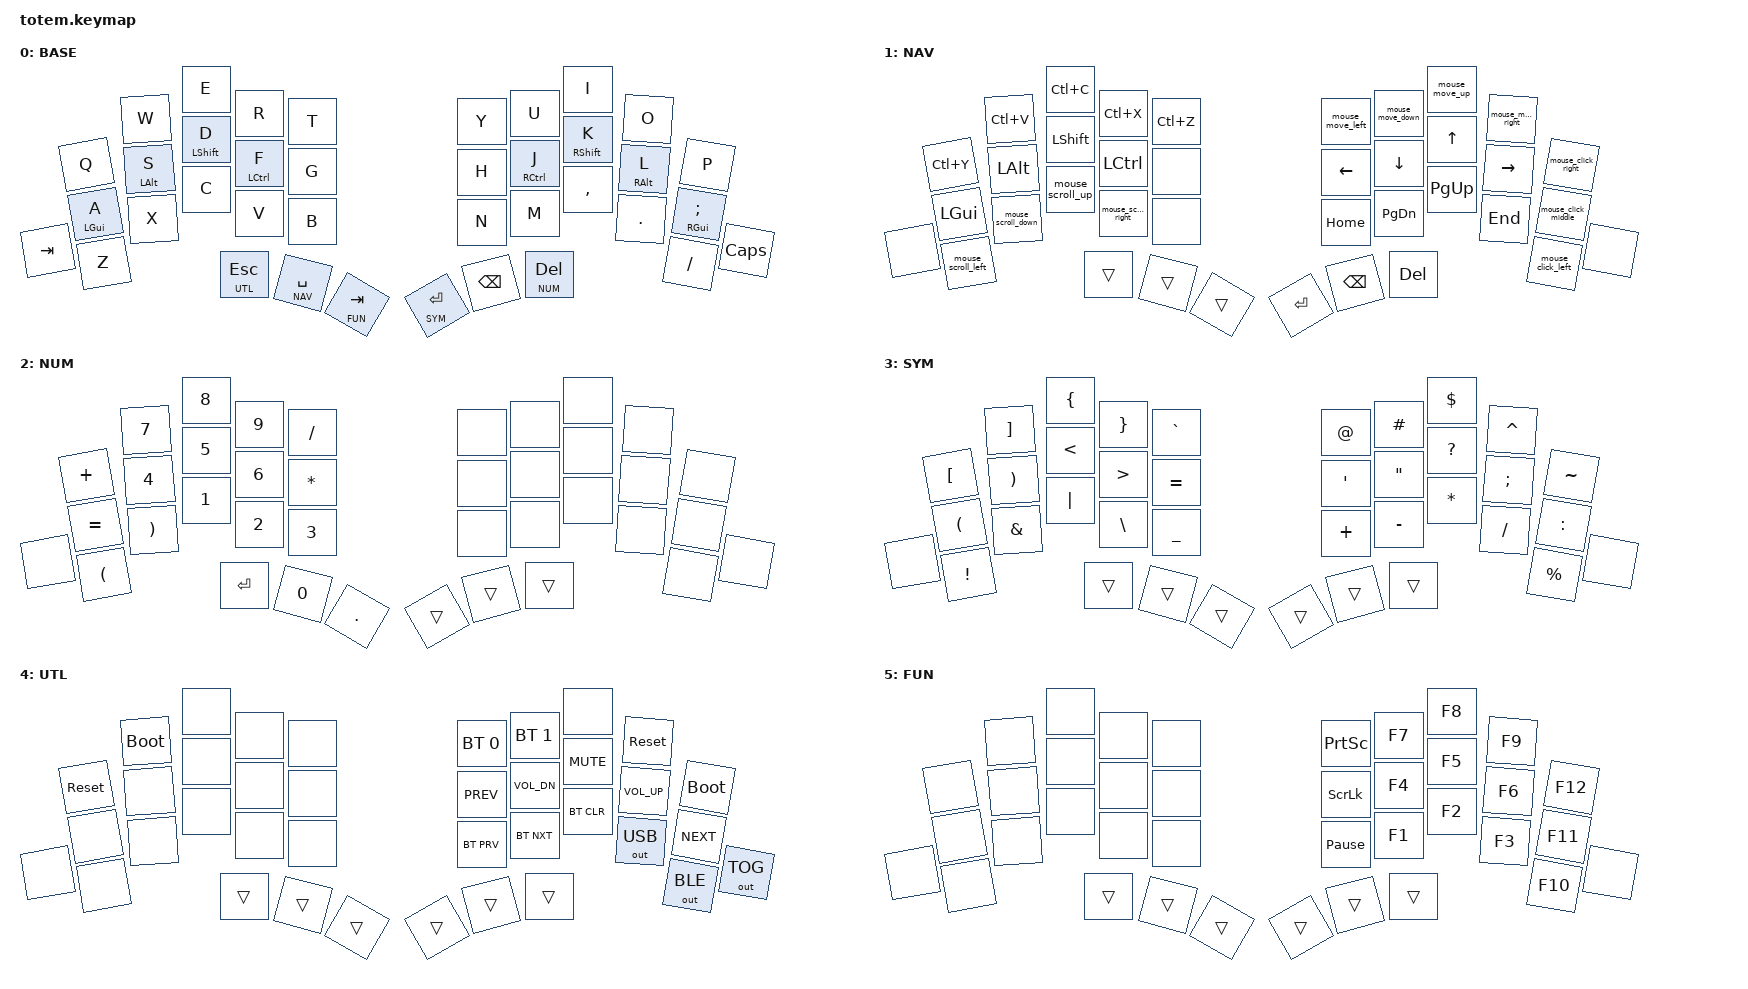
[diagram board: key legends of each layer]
//
// TOTEM keymap — ergonomic test layout
//
// Thumb taps / holds:
//   Left:  UTL/Esc   NAV/Space   FUN/Tab
//   Right: SYM/Enter Backspace   NUM/Delete
//
// Layers:
//   BASE 0, NAV 1, NUM 2, SYM 3, UTL 4, FUN 5
//

#include <behaviors.dtsi>
#include <dt-bindings/zmk/keys.h>
#include <dt-bindings/zmk/bt.h>
#include <dt-bindings/zmk/outputs.h>
#include <dt-bindings/zmk/pointing.h>

#define BASE 0
#define NAV  1
#define NUM  2
#define SYM  3
#define UTL  4
#define FUN  5

&mt {
    quick-tap-ms = <100>;
    global-quick-tap;
    flavor = "tap-preferred";
    tapping-term-ms = <250>;
    require-prior-idle-ms = <125>;
};

/ {
    behaviors {
        hml: home_row_mod_left {
            compatible = "zmk,behavior-hold-tap";
            #binding-cells = <2>;

            flavor = "balanced";
            tapping-term-ms = <280>;
            quick-tap-ms = <175>;
            require-prior-idle-ms = <150>;
            bindings = <&kp>, <&kp>;

            // Opposite-hand trigger positions: RIGHT half only.
            hold-trigger-key-positions = <
                5 6 7 8 9
                15 16 17 18 19
                26 27 28 29 30 31
                35 36 37
            >;

            hold-trigger-on-release;
            display-name = "Home Row Mod Left";
        };

        hmr: home_row_mod_right {
            compatible = "zmk,behavior-hold-tap";
            #binding-cells = <2>;

            flavor = "balanced";
            tapping-term-ms = <280>;
            quick-tap-ms = <175>;
            require-prior-idle-ms = <150>;
            bindings = <&kp>, <&kp>;

            // Opposite-hand trigger positions: LEFT half only.
            hold-trigger-key-positions = <
                0 1 2 3 4
                10 11 12 13 14
                20 21 22 23 24 25
                32 33 34
            >;

            hold-trigger-on-release;
            display-name = "Home Row Mod Right";
        };
    };

    combos {
        compatible = "zmk,combos";

        combo_esc {
            timeout-ms = <50>;
            key-positions = <0 1>;
            bindings = <&kp ESC>;
        };
    };

    macros {
        // Zero-parameter mouse behaviors remain Studio-friendly.
        mouse_move_left: mouse_move_left {
            display-name = "Mouse Move Left";
            compatible = "zmk,behavior-macro";
            #binding-cells = <0>;
            wait-ms = <0>;
            tap-ms = <0>;
            bindings
                = <&macro_press &mmv MOVE_LEFT>
                , <&macro_pause_for_release>
                , <&macro_release &mmv MOVE_LEFT>
                ;
        };

        mouse_move_right: mouse_move_right {
            display-name = "Mouse Move Right";
            compatible = "zmk,behavior-macro";
            #binding-cells = <0>;
            wait-ms = <0>;
            tap-ms = <0>;
            bindings
                = <&macro_press &mmv MOVE_RIGHT>
                , <&macro_pause_for_release>
                , <&macro_release &mmv MOVE_RIGHT>
                ;
        };

        mouse_move_up: mouse_move_up {
            display-name = "Mouse Move Up";
            compatible = "zmk,behavior-macro";
            #binding-cells = <0>;
            wait-ms = <0>;
            tap-ms = <0>;
            bindings
                = <&macro_press &mmv MOVE_UP>
                , <&macro_pause_for_release>
                , <&macro_release &mmv MOVE_UP>
                ;
        };

        mouse_move_down: mouse_move_down {
            display-name = "Mouse Move Down";
            compatible = "zmk,behavior-macro";
            #binding-cells = <0>;
            wait-ms = <0>;
            tap-ms = <0>;
            bindings
                = <&macro_press &mmv MOVE_DOWN>
                , <&macro_pause_for_release>
                , <&macro_release &mmv MOVE_DOWN>
                ;
        };

        mouse_scroll_up: mouse_scroll_up {
            display-name = "Mouse Scroll Up";
            compatible = "zmk,behavior-macro";
            #binding-cells = <0>;
            wait-ms = <0>;
            tap-ms = <0>;
            bindings
                = <&macro_press &msc SCRL_UP>
                , <&macro_pause_for_release>
                , <&macro_release &msc SCRL_UP>
                ;
        };

        mouse_scroll_down: mouse_scroll_down {
            display-name = "Mouse Scroll Down";
            compatible = "zmk,behavior-macro";
            #binding-cells = <0>;
            wait-ms = <0>;
            tap-ms = <0>;
            bindings
                = <&macro_press &msc SCRL_DOWN>
                , <&macro_pause_for_release>
                , <&macro_release &msc SCRL_DOWN>
                ;
        };

        mouse_scroll_left: mouse_scroll_left {
            display-name = "Mouse Scroll Left";
            compatible = "zmk,behavior-macro";
            #binding-cells = <0>;
            wait-ms = <0>;
            tap-ms = <0>;
            bindings
                = <&macro_press &msc SCRL_LEFT>
                , <&macro_pause_for_release>
                , <&macro_release &msc SCRL_LEFT>
                ;
        };

        mouse_scroll_right: mouse_scroll_right {
            display-name = "Mouse Scroll Right";
            compatible = "zmk,behavior-macro";
            #binding-cells = <0>;
            wait-ms = <0>;
            tap-ms = <0>;
            bindings
                = <&macro_press &msc SCRL_RIGHT>
                , <&macro_pause_for_release>
                , <&macro_release &msc SCRL_RIGHT>
                ;
        };

        mouse_click_left: mouse_click_left {
            display-name = "Mouse Left Click";
            compatible = "zmk,behavior-macro";
            #binding-cells = <0>;
            wait-ms = <0>;
            tap-ms = <0>;
            bindings
                = <&macro_press &mkp LCLK>
                , <&macro_pause_for_release>
                , <&macro_release &mkp LCLK>
                ;
        };

        mouse_click_right: mouse_click_right {
            display-name = "Mouse Right Click";
            compatible = "zmk,behavior-macro";
            #binding-cells = <0>;
            wait-ms = <0>;
            tap-ms = <0>;
            bindings
                = <&macro_press &mkp RCLK>
                , <&macro_pause_for_release>
                , <&macro_release &mkp RCLK>
                ;
        };

        mouse_click_middle: mouse_click_middle {
            display-name = "Mouse Middle Click";
            compatible = "zmk,behavior-macro";
            #binding-cells = <0>;
            wait-ms = <0>;
            tap-ms = <0>;
            bindings
                = <&macro_press &mkp MCLK>
                , <&macro_pause_for_release>
                , <&macro_release &mkp MCLK>
                ;
        };

        mouse_button_4: mouse_button_4 {
            display-name = "Mouse Button 4";
            compatible = "zmk,behavior-macro";
            #binding-cells = <0>;
            wait-ms = <0>;
            tap-ms = <0>;
            bindings
                = <&macro_press &mkp MB4>
                , <&macro_pause_for_release>
                , <&macro_release &mkp MB4>
                ;
        };

        mouse_button_5: mouse_button_5 {
            display-name = "Mouse Button 5";
            compatible = "zmk,behavior-macro";
            #binding-cells = <0>;
            wait-ms = <0>;
            tap-ms = <0>;
            bindings
                = <&macro_press &mkp MB5>
                , <&macro_pause_for_release>
                , <&macro_release &mkp MB5>
                ;
        };

        gif: gif {
            label = "giphy";
            compatible = "zmk,behavior-macro";
            #binding-cells = <0>;
            bindings
                = <&macro_press &kp LSHFT>
                , <&macro_tap &kp N2>
                , <&macro_release &kp LSHFT>
                , <&macro_tap &kp G &kp I &kp F>
                ;
        };
    };

    keymap {
        compatible = "zmk,keymap";

        base_layer {
            label = "BASE";

            //                 Q            W            E            R            T             Y            U            I            O            P
            //                 A/GUI        S/ALT        D/SHIFT      F/CTRL       G             H            J/RCTRL      K/RSHIFT     L/RALT       ;/RGUI
            // TAB             Z            X            C            V            B             N            M            ,            .            /            CAPS
            //                                           UTL/Esc      NAV/Space    FUN/Tab       SYM/Enter    Backspace    NUM/Delete
            bindings = <
                                &kp Q        &kp W        &kp E        &kp R        &kp T          &kp Y        &kp U        &kp I        &kp O        &kp P
                                &hml LGUI A  &hml LALT S  &hml LSHFT D &hml LCTRL F &kp G         &kp H        &hmr RCTRL J &hmr RSHFT K &hmr RALT L  &hmr RGUI SEMI
                &kp TAB        &kp Z        &kp X        &kp C        &kp V        &kp B          &kp N        &kp M        &kp COMMA    &kp DOT      &kp FSLH     &kp CAPS
                                                            &lt UTL ESC  &lt NAV SPACE &lt FUN TAB   &lt SYM ENTER &kp BSPC     &lt NUM DEL
            >;
        };

        nav_layer {
            label = "NAV";

            // Left top: editing shortcuts. Right top: mouse movement + right click.
            // Left home: modifiers.        Right home: HJKL-style arrows + middle click.
            // Left bottom: wheel scroll.   Right bottom: Home/PgDn/PgUp/End + left click.
            // Right thumbs: Enter / Backspace / Delete.
            bindings = <
                                &kp LC(Y)            &kp LC(V)            &kp LC(C)            &kp LC(X)             &kp LC(Z)               &mouse_move_left   &mouse_move_down   &mouse_move_up     &mouse_move_right   &mouse_click_right
                                &kp LGUI             &kp LALT             &kp LSHFT             &kp LCTRL              &none                   &kp LEFT           &kp DOWN            &kp UP              &kp RIGHT           &mouse_click_middle
                &none           &mouse_scroll_left   &mouse_scroll_down   &mouse_scroll_up      &mouse_scroll_right    &none                   &kp HOME           &kp PG_DN           &kp PG_UP           &kp END             &mouse_click_left   &none
                                                                        &trans                 &trans                 &trans                   &kp ENTER          &kp BSPC            &kp DEL
            >;
        };

        num_layer {
            label = "NUM";

            // Right thumb holds NUM; left hand becomes a numpad / numeric-expression pad.
            //                 +            7            8            9            /             .            .            .            .            .
            //                 =            4            5            6            *             .            .            .            .            .
            // .               (            )            1            2            3             .            .            .            .            .            .
            //                                           Enter        0            .             trans        trans        trans
            bindings = <
                                &kp PLUS     &kp N7       &kp N8       &kp N9       &kp FSLH       &none        &none        &none        &none        &none
                                &kp EQUAL    &kp N4       &kp N5       &kp N6       &kp ASTRK      &none        &none        &none        &none        &none
                &none           &kp LPAR     &kp RPAR     &kp N1       &kp N2       &kp N3         &none        &none        &none        &none        &none        &none
                                                            &kp ENTER    &kp N0       &kp DOT        &trans       &trans       &trans
            >;
        };

        sym_layer {
            label = "SYM";

            // Grouped by symbol family; thumbs intentionally transparent for testing.
            //                 [            ]            {            }            `             @            #            $            ^            ~
            //                 (            )            <            >            =             '            "            ?            ;            :
            // .               !            &            |            \\           _             +            -            *            /            %            .
            bindings = <
                                &kp LBKT     &kp RBKT     &kp LBRC     &kp RBRC     &kp GRAVE      &kp AT       &kp HASH     &kp DLLR     &kp CARET    &kp TILDE
                                &kp LPAR     &kp RPAR     &kp LT       &kp GT       &kp EQUAL      &kp SQT      &kp DQT      &kp QMARK    &kp SEMI     &kp COLON
                &none           &kp EXCL     &kp AMPS     &kp PIPE     &kp BSLH      &kp UNDER      &kp PLUS     &kp MINUS    &kp ASTRK    &kp FSLH     &kp PRCNT    &none
                                                            &trans       &trans       &trans          &trans       &trans       &trans
            >;
        };

        utility_layer {
            label = "UTL";

            // Reset/bootloader are deliberately placed on both physical halves.
            // Right hand also carries BT, media, and output controls.
            //                 Reset-L      Boot-L       .            .            .             BT1          BT2          .            Reset-R      Boot-R
            //                 .            .            .            .            .             Prev         Vol-         Mute         Vol+         Next
            // .               .            .            .            .            .             BT Prev      BT Next      BT Clear     USB          BLE          Toggle
            bindings = <
                                &sys_reset   &bootloader  &none        &none        &none          &bt BT_SEL 0 &bt BT_SEL 1 &none        &sys_reset   &bootloader
                                &none        &none        &none        &none        &none          &kp C_PREV   &kp C_VOL_DN &kp C_MUTE   &kp C_VOL_UP &kp C_NEXT
                &none           &none        &none        &none        &none        &none          &bt BT_PRV   &bt BT_NXT   &bt BT_CLR   &out OUT_USB &out OUT_BLE &out OUT_TOG
                                                            &trans       &trans       &trans          &trans       &trans       &trans
            >;
        };

        fun_layer {
            label = "FUN";

            // Left thumb holds FUN; F-keys are concentrated on the right hand.
            // Miryoku-inspired 3x3 F1-F9 pattern, with F10-F12 in the outer column.
            //                 .            .            .            .            .             PrtSc        F7           F8           F9           F12
            //                 .            .            .            .            .             ScrLk        F4           F5           F6           F11
            // .               .            .            .            .            .             Pause        F1           F2           F3           F10          .
            bindings = <
                                &none        &none        &none        &none        &none          &kp PSCRN    &kp F7       &kp F8       &kp F9       &kp F12
                                &none        &none        &none        &none        &none          &kp SLCK     &kp F4       &kp F5       &kp F6       &kp F11
                &none           &none        &none        &none        &none        &none          &kp PAUSE_BREAK &kp F1    &kp F2       &kp F3       &kp F10      &none
                                                            &trans       &trans       &trans          &trans       &trans       &trans
            >;
        };
    };
};
